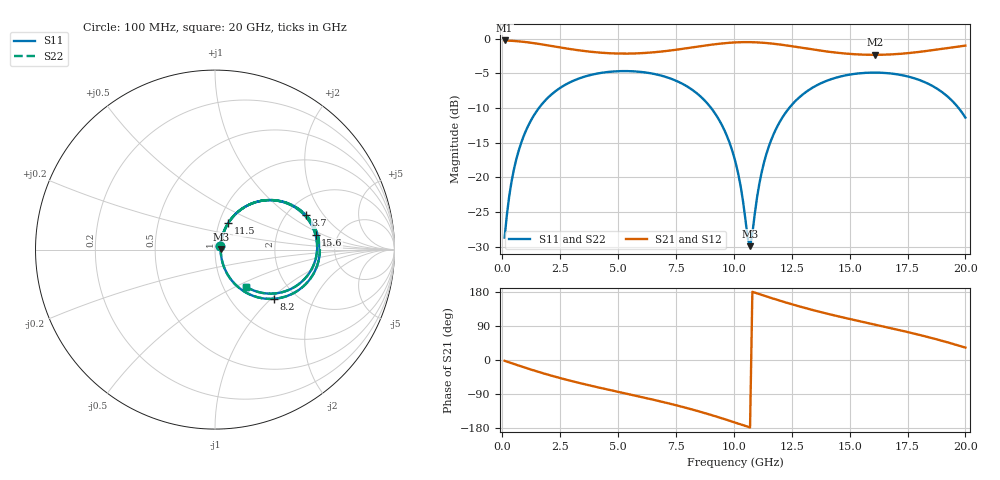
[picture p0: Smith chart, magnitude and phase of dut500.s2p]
! Touchstone file exported from HFSS 2026.1.0
!  File:  C:/ffzhzh/LocalFiles/Ansys_Project_Files/temp_train_TSV_RDL_500_1783106885_50312.aedt
!  Generated:  03:50:28 AM Jul  4, 2026
!  Design:  TSV_RDL
!  Project:  temp_train_TSV_RDL_500_1783106885_50312
! Variables:
!  h_bsmrdl = 4.85um
!  h_ox = 20um
!  h_rdl = 5um
!  h_sub = 79.6um
!  h_tmrdl = 5.81um
!  h_tsv = 79.6um
!  h_via = 3um
!  l_bsmrdl = 452.15um
!  l_sub = 5693.28um
!  l_tmrdl = 954.5um
!  m_sub = 200um
!  pitch = 47.37um
!  r_tsv = 2.38um
!  s_tmrdl = 10um
!  w_bsmrdl = 23.16um
!  w_sub = 500um
!  w_tmrdl = 16.45um
!  x_tsv_center1 = 962.725um
!  x_tsv_center2 = 1438.035um
!  x_tsv_center3 = 2408.985um
!  x_tsv_center4 = 2884.295um
!  x_tsv_center5 = 3855.245um
!  x_tsv_center6 = 4330.555um
# GHz S MA R 50.000000
! Terminal data exported
! Port[1] = TM_RDL1_1_T1
! Port[2] = TM_RDL5_1_T1
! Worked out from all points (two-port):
!   200 points, 100 MHz to 20 GHz, reference 50 ohm
!   highest |S21| = -0.26 dB at 100 MHz (marker M1); lowest = -2.3 dB at 16.1 GHz (marker M2)
!   |S21| within 3 dB of the highest: start of sweep to end of sweep
!   lowest |S11| = -29.9 dB at 10.7 GHz (marker M3), VSWR 1.07, Z = 53.3 + j0.294 ohm
!   |S11| at or under -10 dB: start of sweep to 1.581 GHz; 9.02 GHz to 12.39 GHz (3.369 GHz wide, 31.5 % of centre); 19.71 GHz to end of sweep
!   |S22| runs from -30.0 to -4.7 dB; largest |S21 - S12| = 1.7e-14
!   S11 on the Smith chart (normalised r, x): 100 MHz: 1.06, +0.05; 3.7 GHz: 2.51, +1.37; 8.2 GHz: 1.56, -1.04; 11.5 GHz: 1.11, +0.34; 15.6 GHz: 3.39, +0.82; 20 GHz: 1.28, -0.57
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0.1  0.03682 36.5  0.971 -2.1  0.971 -2.1  0.03682 36.5
! Gamma 0 0 0 0
! Port Impedance 50 0 50 0
0.3  0.07345 59.4  0.9676 -6.3  0.9676 -6.3  0.07345 59.4
0.5  0.1138 63.8  0.9632 -10.4  0.9632 -10.4  0.1138 63.8
1.1  0.2321 59.7  0.9414 -22.5  0.9414 -22.5  0.2321 59.7
2.1  0.3932 44.4  0.8872 -40.9  0.8872 -40.9  0.3932 44.4
3.5  0.5293 23.6  0.8163 -63.2  0.8163 -63.2  0.5293 23.6
3.7  0.5413 20.9  0.8089 -66.1  0.8089 -66.1  0.5413 20.9
5.3  0.5842 -0.1  0.7805 -88.1  0.7805 -88.1  0.5842 -0.1
6.8  0.5453 -19.7  0.8055 -108.8  0.8055 -108.8  0.5452 -19.7
8.2  0.4286 -39.7  0.8649 -130.6  0.8649 -130.6  0.4285 -39.7
9.3  0.2704 -56.3  0.9168 -150.3  0.9168 -150.3  0.2704 -56.3
10.1  0.1234 -63.3  0.9407 -166.0  0.9407 -166.0  0.1233 -63.4
10.7  0.03195 5.0  0.9441 -178.1  0.9441 -178.1  0.03169 5.0
11.1  0.08979 61.5  0.9386 173.9  0.9386 173.9  0.0897 61.6
11.5  0.1652 63.5  0.9274 165.9  0.9274 165.9  0.1652 63.6
12.3  0.3027 53.9  0.8927 150.8  0.8927 150.8  0.3027 54.0
13.4  0.4437 37.8  0.8363 132.0  0.8363 132.0  0.4436 37.8
15.6  0.5661 8.4  0.7672 100.0  0.7672 100.0  0.5661 8.4
16.1  0.5696 2.1  0.7649 93.3  0.7649 93.3  0.5696 2.1
16.7  0.563 -5.5  0.7691 85.1  0.7691 85.1  0.563 -5.5
18.6  0.4543 -30.8  0.8276 57.1  0.8276 57.1  0.4542 -30.8
20  0.27 -50.1  0.891 32.7  0.891 32.7  0.27 -50.1
